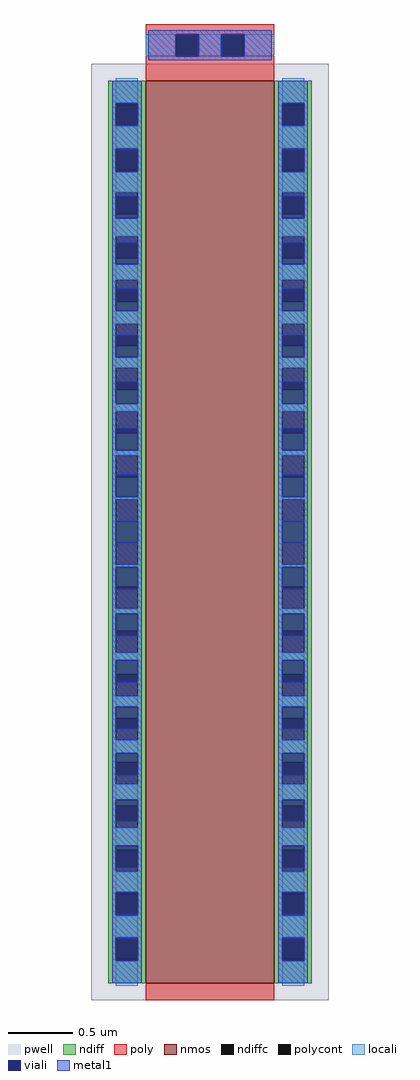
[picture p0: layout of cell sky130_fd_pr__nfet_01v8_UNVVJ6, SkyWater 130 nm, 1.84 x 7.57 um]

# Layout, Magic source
magic
tech sky130A
magscale 1 2
<< pwell >>
rect -184 -757 184 695
<< nmos >>
rect -100 -731 100 669
<< ndiff >>
rect -158 632 -100 669
rect -158 598 -146 632
rect -112 598 -100 632
rect -158 564 -100 598
rect -158 530 -146 564
rect -112 530 -100 564
rect -158 496 -100 530
rect -158 462 -146 496
rect -112 462 -100 496
rect -158 428 -100 462
rect -158 394 -146 428
rect -112 394 -100 428
rect -158 360 -100 394
rect -158 326 -146 360
rect -112 326 -100 360
rect -158 292 -100 326
rect -158 258 -146 292
rect -112 258 -100 292
rect -158 224 -100 258
rect -158 190 -146 224
rect -112 190 -100 224
rect -158 156 -100 190
rect -158 122 -146 156
rect -112 122 -100 156
rect -158 88 -100 122
rect -158 54 -146 88
rect -112 54 -100 88
rect -158 20 -100 54
rect -158 -14 -146 20
rect -112 -14 -100 20
rect -158 -48 -100 -14
rect -158 -82 -146 -48
rect -112 -82 -100 -48
rect -158 -116 -100 -82
rect -158 -150 -146 -116
rect -112 -150 -100 -116
rect -158 -184 -100 -150
rect -158 -218 -146 -184
rect -112 -218 -100 -184
rect -158 -252 -100 -218
rect -158 -286 -146 -252
rect -112 -286 -100 -252
rect -158 -320 -100 -286
rect -158 -354 -146 -320
rect -112 -354 -100 -320
rect -158 -388 -100 -354
rect -158 -422 -146 -388
rect -112 -422 -100 -388
rect -158 -456 -100 -422
rect -158 -490 -146 -456
rect -112 -490 -100 -456
rect -158 -524 -100 -490
rect -158 -558 -146 -524
rect -112 -558 -100 -524
rect -158 -592 -100 -558
rect -158 -626 -146 -592
rect -112 -626 -100 -592
rect -158 -660 -100 -626
rect -158 -694 -146 -660
rect -112 -694 -100 -660
rect -158 -731 -100 -694
rect 100 632 158 669
rect 100 598 112 632
rect 146 598 158 632
rect 100 564 158 598
rect 100 530 112 564
rect 146 530 158 564
rect 100 496 158 530
rect 100 462 112 496
rect 146 462 158 496
rect 100 428 158 462
rect 100 394 112 428
rect 146 394 158 428
rect 100 360 158 394
rect 100 326 112 360
rect 146 326 158 360
rect 100 292 158 326
rect 100 258 112 292
rect 146 258 158 292
rect 100 224 158 258
rect 100 190 112 224
rect 146 190 158 224
rect 100 156 158 190
rect 100 122 112 156
rect 146 122 158 156
rect 100 88 158 122
rect 100 54 112 88
rect 146 54 158 88
rect 100 20 158 54
rect 100 -14 112 20
rect 146 -14 158 20
rect 100 -48 158 -14
rect 100 -82 112 -48
rect 146 -82 158 -48
rect 100 -116 158 -82
rect 100 -150 112 -116
rect 146 -150 158 -116
rect 100 -184 158 -150
rect 100 -218 112 -184
rect 146 -218 158 -184
rect 100 -252 158 -218
rect 100 -286 112 -252
rect 146 -286 158 -252
rect 100 -320 158 -286
rect 100 -354 112 -320
rect 146 -354 158 -320
rect 100 -388 158 -354
rect 100 -422 112 -388
rect 146 -422 158 -388
rect 100 -456 158 -422
rect 100 -490 112 -456
rect 146 -490 158 -456
rect 100 -524 158 -490
rect 100 -558 112 -524
rect 146 -558 158 -524
rect 100 -592 158 -558
rect 100 -626 112 -592
rect 146 -626 158 -592
rect 100 -660 158 -626
rect 100 -694 112 -660
rect 146 -694 158 -660
rect 100 -731 158 -694
<< ndiffc >>
rect -146 598 -112 632
rect -146 530 -112 564
rect -146 462 -112 496
rect -146 394 -112 428
rect -146 326 -112 360
rect -146 258 -112 292
rect -146 190 -112 224
rect -146 122 -112 156
rect -146 54 -112 88
rect -146 -14 -112 20
rect -146 -82 -112 -48
rect -146 -150 -112 -116
rect -146 -218 -112 -184
rect -146 -286 -112 -252
rect -146 -354 -112 -320
rect -146 -422 -112 -388
rect -146 -490 -112 -456
rect -146 -558 -112 -524
rect -146 -626 -112 -592
rect -146 -694 -112 -660
rect 112 598 146 632
rect 112 530 146 564
rect 112 462 146 496
rect 112 394 146 428
rect 112 326 146 360
rect 112 258 146 292
rect 112 190 146 224
rect 112 122 146 156
rect 112 54 146 88
rect 112 -14 146 20
rect 112 -82 146 -48
rect 112 -150 146 -116
rect 112 -218 146 -184
rect 112 -286 146 -252
rect 112 -354 146 -320
rect 112 -422 146 -388
rect 112 -490 146 -456
rect 112 -558 146 -524
rect 112 -626 146 -592
rect 112 -694 146 -660
<< poly >>
rect -100 741 100 757
rect -100 707 -51 741
rect -17 707 17 741
rect 51 707 100 741
rect -100 669 100 707
rect -100 -757 100 -731
<< polycont >>
rect -51 707 -17 741
rect 17 707 51 741
<< locali >>
rect -100 707 -53 741
rect -17 707 17 741
rect 53 707 100 741
rect -146 634 -112 673
rect -146 564 -112 598
rect -146 496 -112 528
rect -146 428 -112 456
rect -146 360 -112 384
rect -146 292 -112 312
rect -146 224 -112 240
rect -146 156 -112 168
rect -146 88 -112 96
rect -146 20 -112 24
rect -146 -86 -112 -82
rect -146 -158 -112 -150
rect -146 -230 -112 -218
rect -146 -302 -112 -286
rect -146 -374 -112 -354
rect -146 -446 -112 -422
rect -146 -518 -112 -490
rect -146 -590 -112 -558
rect -146 -660 -112 -626
rect -146 -735 -112 -696
rect 112 634 146 673
rect 112 564 146 598
rect 112 496 146 528
rect 112 428 146 456
rect 112 360 146 384
rect 112 292 146 312
rect 112 224 146 240
rect 112 156 146 168
rect 112 88 146 96
rect 112 20 146 24
rect 112 -86 146 -82
rect 112 -158 146 -150
rect 112 -230 146 -218
rect 112 -302 146 -286
rect 112 -374 146 -354
rect 112 -446 146 -422
rect 112 -518 146 -490
rect 112 -590 146 -558
rect 112 -660 146 -626
rect 112 -735 146 -696
<< viali >>
rect -53 707 -51 741
rect -51 707 -19 741
rect 19 707 51 741
rect 51 707 53 741
rect -146 632 -112 634
rect -146 600 -112 632
rect -146 530 -112 562
rect -146 528 -112 530
rect -146 462 -112 490
rect -146 456 -112 462
rect -146 394 -112 418
rect -146 384 -112 394
rect -146 326 -112 346
rect -146 312 -112 326
rect -146 258 -112 274
rect -146 240 -112 258
rect -146 190 -112 202
rect -146 168 -112 190
rect -146 122 -112 130
rect -146 96 -112 122
rect -146 54 -112 58
rect -146 24 -112 54
rect -146 -48 -112 -14
rect -146 -116 -112 -86
rect -146 -120 -112 -116
rect -146 -184 -112 -158
rect -146 -192 -112 -184
rect -146 -252 -112 -230
rect -146 -264 -112 -252
rect -146 -320 -112 -302
rect -146 -336 -112 -320
rect -146 -388 -112 -374
rect -146 -408 -112 -388
rect -146 -456 -112 -446
rect -146 -480 -112 -456
rect -146 -524 -112 -518
rect -146 -552 -112 -524
rect -146 -592 -112 -590
rect -146 -624 -112 -592
rect -146 -694 -112 -662
rect -146 -696 -112 -694
rect 112 632 146 634
rect 112 600 146 632
rect 112 530 146 562
rect 112 528 146 530
rect 112 462 146 490
rect 112 456 146 462
rect 112 394 146 418
rect 112 384 146 394
rect 112 326 146 346
rect 112 312 146 326
rect 112 258 146 274
rect 112 240 146 258
rect 112 190 146 202
rect 112 168 146 190
rect 112 122 146 130
rect 112 96 146 122
rect 112 54 146 58
rect 112 24 146 54
rect 112 -48 146 -14
rect 112 -116 146 -86
rect 112 -120 146 -116
rect 112 -184 146 -158
rect 112 -192 146 -184
rect 112 -252 146 -230
rect 112 -264 146 -252
rect 112 -320 146 -302
rect 112 -336 146 -320
rect 112 -388 146 -374
rect 112 -408 146 -388
rect 112 -456 146 -446
rect 112 -480 146 -456
rect 112 -524 146 -518
rect 112 -552 146 -524
rect 112 -592 146 -590
rect 112 -624 146 -592
rect 112 -694 146 -662
rect 112 -696 146 -694
<< metal1 >>
rect -96 741 96 747
rect -96 707 -53 741
rect -19 707 19 741
rect 53 707 96 741
rect -96 701 96 707
rect -152 634 -106 669
rect -152 600 -146 634
rect -112 600 -106 634
rect -152 562 -106 600
rect -152 528 -146 562
rect -112 528 -106 562
rect -152 490 -106 528
rect -152 456 -146 490
rect -112 456 -106 490
rect -152 418 -106 456
rect -152 384 -146 418
rect -112 384 -106 418
rect -152 346 -106 384
rect -152 312 -146 346
rect -112 312 -106 346
rect -152 274 -106 312
rect -152 240 -146 274
rect -112 240 -106 274
rect -152 202 -106 240
rect -152 168 -146 202
rect -112 168 -106 202
rect -152 130 -106 168
rect -152 96 -146 130
rect -112 96 -106 130
rect -152 58 -106 96
rect -152 24 -146 58
rect -112 24 -106 58
rect -152 -14 -106 24
rect -152 -48 -146 -14
rect -112 -48 -106 -14
rect -152 -86 -106 -48
rect -152 -120 -146 -86
rect -112 -120 -106 -86
rect -152 -158 -106 -120
rect -152 -192 -146 -158
rect -112 -192 -106 -158
rect -152 -230 -106 -192
rect -152 -264 -146 -230
rect -112 -264 -106 -230
rect -152 -302 -106 -264
rect -152 -336 -146 -302
rect -112 -336 -106 -302
rect -152 -374 -106 -336
rect -152 -408 -146 -374
rect -112 -408 -106 -374
rect -152 -446 -106 -408
rect -152 -480 -146 -446
rect -112 -480 -106 -446
rect -152 -518 -106 -480
rect -152 -552 -146 -518
rect -112 -552 -106 -518
rect -152 -590 -106 -552
rect -152 -624 -146 -590
rect -112 -624 -106 -590
rect -152 -662 -106 -624
rect -152 -696 -146 -662
rect -112 -696 -106 -662
rect -152 -731 -106 -696
rect 106 634 152 669
rect 106 600 112 634
rect 146 600 152 634
rect 106 562 152 600
rect 106 528 112 562
rect 146 528 152 562
rect 106 490 152 528
rect 106 456 112 490
rect 146 456 152 490
rect 106 418 152 456
rect 106 384 112 418
rect 146 384 152 418
rect 106 346 152 384
rect 106 312 112 346
rect 146 312 152 346
rect 106 274 152 312
rect 106 240 112 274
rect 146 240 152 274
rect 106 202 152 240
rect 106 168 112 202
rect 146 168 152 202
rect 106 130 152 168
rect 106 96 112 130
rect 146 96 152 130
rect 106 58 152 96
rect 106 24 112 58
rect 146 24 152 58
rect 106 -14 152 24
rect 106 -48 112 -14
rect 146 -48 152 -14
rect 106 -86 152 -48
rect 106 -120 112 -86
rect 146 -120 152 -86
rect 106 -158 152 -120
rect 106 -192 112 -158
rect 146 -192 152 -158
rect 106 -230 152 -192
rect 106 -264 112 -230
rect 146 -264 152 -230
rect 106 -302 152 -264
rect 106 -336 112 -302
rect 146 -336 152 -302
rect 106 -374 152 -336
rect 106 -408 112 -374
rect 146 -408 152 -374
rect 106 -446 152 -408
rect 106 -480 112 -446
rect 146 -480 152 -446
rect 106 -518 152 -480
rect 106 -552 112 -518
rect 146 -552 152 -518
rect 106 -590 152 -552
rect 106 -624 112 -590
rect 146 -624 152 -590
rect 106 -662 152 -624
rect 106 -696 112 -662
rect 146 -696 152 -662
rect 106 -731 152 -696
<< end >>
